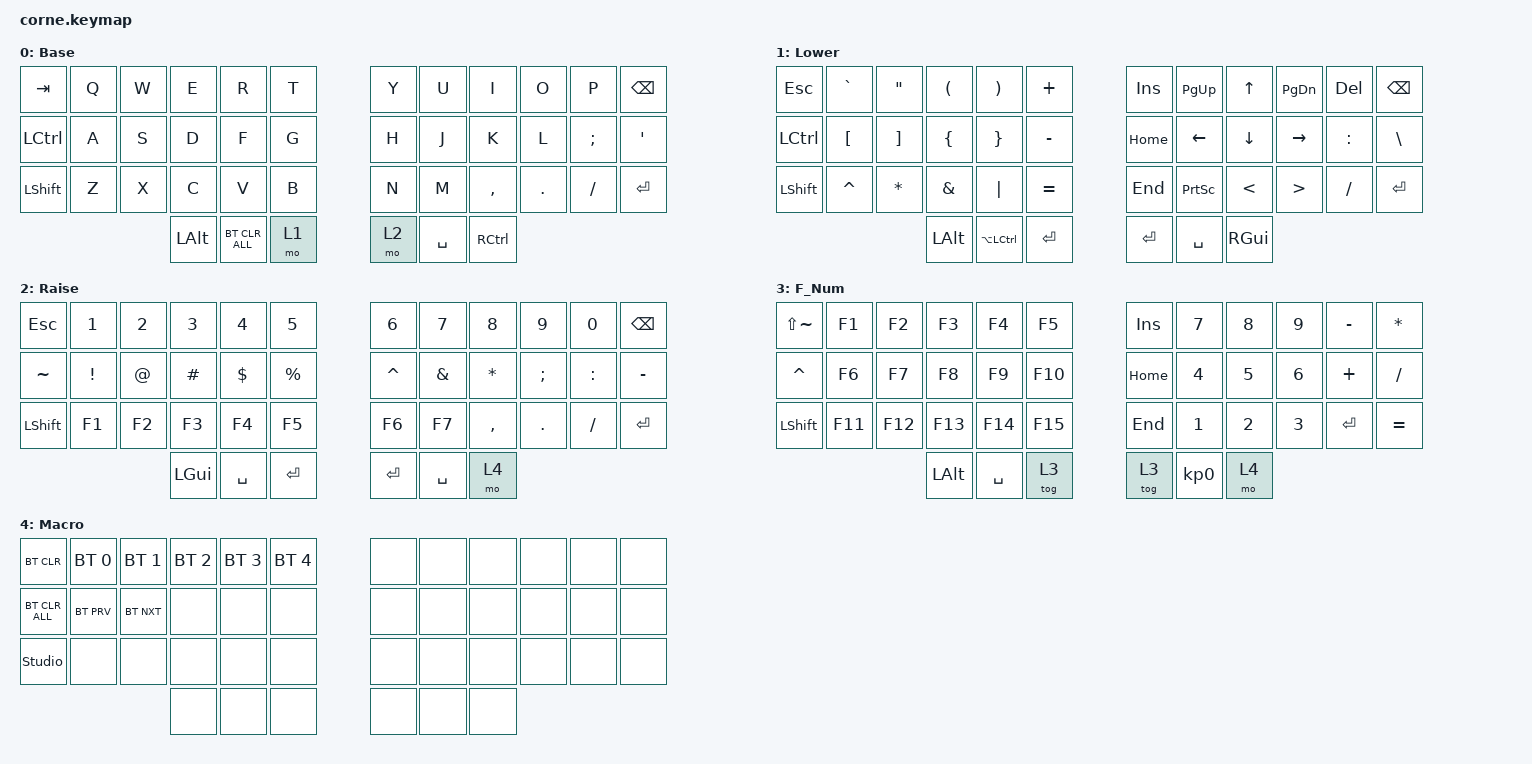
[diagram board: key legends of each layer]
/*
 * Copyright (c) 2020 The ZMK Contributors
 *
 * SPDX-License-Identifier: MIT
 */

#include <behaviors.dtsi>
#include <dt-bindings/zmk/bt.h>
#include <dt-bindings/zmk/keys.h>

/ {
    keymap {
        compatible = "zmk,keymap";

        default_layer {
            // -----------------------------------------------------------------------------------------
            // |  TAB |  Q  |  W  |  E  |  R  |  T  |   |  Y  |  U   |  I  |  O  |  P  | BKSP |
            // | CTRL |  A  |  S  |  D  |  F  |  G  |   |  H  |  J   |  K  |  L  |  ;  |  '   |
            // | SHFT |  Z  |  X  |  C  |  V  |  B  |   |  N  |  M   |  ,  |  .  |  /  | ESC  |
            //                    | GUI | LWR | SPC |   | ENT | RSE  | ALT |

            display-name = "Base";
            bindings = <
&kp TAB    &kp Q  &kp W  &kp E     &kp R           &kp T    &kp Y  &kp U      &kp I              &kp O    &kp P     &kp BSPC
&kp LCTRL  &kp A  &kp S  &kp D     &kp F           &kp G    &kp H  &kp J      &kp K              &kp L    &kp SEMI  &kp SQT
&kp LSHFT  &kp Z  &kp X  &kp C     &kp V           &kp B    &kp N  &kp M      &kp COMMA          &kp DOT  &kp FSLH  &kp RET
                         &kp LALT  &bt BT_CLR_ALL  &mo 1    &mo 2  &kp SPACE  &kp RIGHT_CONTROL
            >;
        };

        Sym_Nav_Layer {
            // -----------------------------------------------------------------------------------------
            // |  TAB |  1  |  2  |  3  |  4  |  5  |   |  6  |  7  |  8  |  9  |  0  | BKSP |
            // | BTCLR| BT1 | BT2 | BT3 | BT4 | BT5 |   | LFT | DWN |  UP | RGT |     |      |
            // | SHFT |     |     |     |     |     |   |     |     |     |     |     |      |
            //                    | GUI |     | SPC |   | ENT |     | ALT |

            display-name = "Lower";
            bindings = <
&kp ESCAPE  &kp GRAVE  &kp DOUBLE_QUOTES  &kp LEFT_PARENTHESIS  &kp RIGHT_PARENTHESIS  &kp PLUS     &kp INS    &kp PAGE_UP      &kp UP_ARROW   &kp PAGE_DOWN     &kp DEL    &kp BACKSPACE
&kp LCTRL   &kp LBKT   &kp RBKT           &kp LEFT_BRACE        &kp RIGHT_BRACE        &kp MINUS    &kp HOME   &kp LEFT_ARROW   &kp DOWN       &kp RIGHT         &kp COLON  &kp BACKSLASH
&kp LSHFT   &kp CARET  &kp ASTERISK       &kp AMPS              &kp PIPE               &kp EQUAL    &kp END    &kp PRINTSCREEN  &kp LESS_THAN  &kp GREATER_THAN  &kp SLASH  &kp ENTER
                                          &kp LEFT_ALT          &kp LA(LCTRL)          &kp ENTER    &kp ENTER  &kp SPACE        &kp RIGHT_GUI
            >;

            label = "Sym_Nav";
        };

        NumRow {
            // -----------------------------------------------------------------------------------------
            // |  TAB |  !  |  @  |  #  |  $  |  %  |   |  ^  |  &  |  *  |  (  |  )  | BKSP |
            // | CTRL |     |     |     |     |     |   |  -  |  =  |  [  |  ]  |  \  |  `   |
            // | SHFT |     |     |     |     |     |   |  _  |  +  |  {  |  }  | "|" |  ~   |
            //                    | GUI |     | SPC |   | ENT |     | ALT |

            display-name = "Raise";
            bindings = <
&kp ESCAPE  &kp N1    &kp N2  &kp N3    &kp N4      &kp N5         &kp N6     &kp N7     &kp N8     &kp N9         &kp N0     &kp BACKSPACE
&kp TILDE   &kp EXCL  &kp AT  &kp HASH  &kp DOLLAR  &kp PERCENT    &kp CARET  &kp AMPS   &kp ASTRK  &kp SEMICOLON  &kp COLON  &kp MINUS
&kp LSHFT   &kp F1    &kp F2  &kp F3    &kp F4      &kp F5         &kp F6     &kp F7     &kp COMMA  &kp DOT        &kp FSLH   &kp ENTER
                              &kp LGUI  &kp SPACE   &kp ENTER      &kp RET    &kp SPACE  &mo 4
            >;

            label = "NumRow";
        };

        F_Num_Layer {
            bindings = <
&kp LS(TILDE)  &kp F1   &kp F2   &kp F3        &kp F4     &kp F5     &kp INSERT  &kp N7           &kp N8  &kp N9  &kp MINUS  &kp STAR
&kp CARET      &kp F6   &kp F7   &kp F8        &kp F9     &kp F10    &kp HOME    &kp N4           &kp N5  &kp N6  &kp PLUS   &kp FSLH
&kp LSHFT      &kp F11  &kp F12  &kp F13       &kp F14    &kp F15    &kp END     &kp N1           &kp N2  &kp N3  &kp RET    &kp EQUAL
                                 &kp LEFT_ALT  &kp SPACE  &tog 3     &tog 3      &kp KP_NUMBER_0  &mo 4
            >;

            label = "F_Num";
        };

        macro_layer {
            bindings = <
&bt BT_CLR      &bt BT_SEL 0  &bt BT_SEL 1  &bt BT_SEL 2  &bt BT_SEL 3  &bt BT_SEL 4    &none  &none  &none  &none  &none  &none
&bt BT_CLR_ALL  &bt BT_PRV    &bt BT_NXT    &none         &none         &none           &none  &none  &none  &none  &none  &none
&studio_unlock  &none         &none         &none         &none         &none           &none  &none  &none  &none  &none  &none
                                            &none         &none         &none           &none  &none  &none
            >;

            label = "Macro";
        };
    };
};
